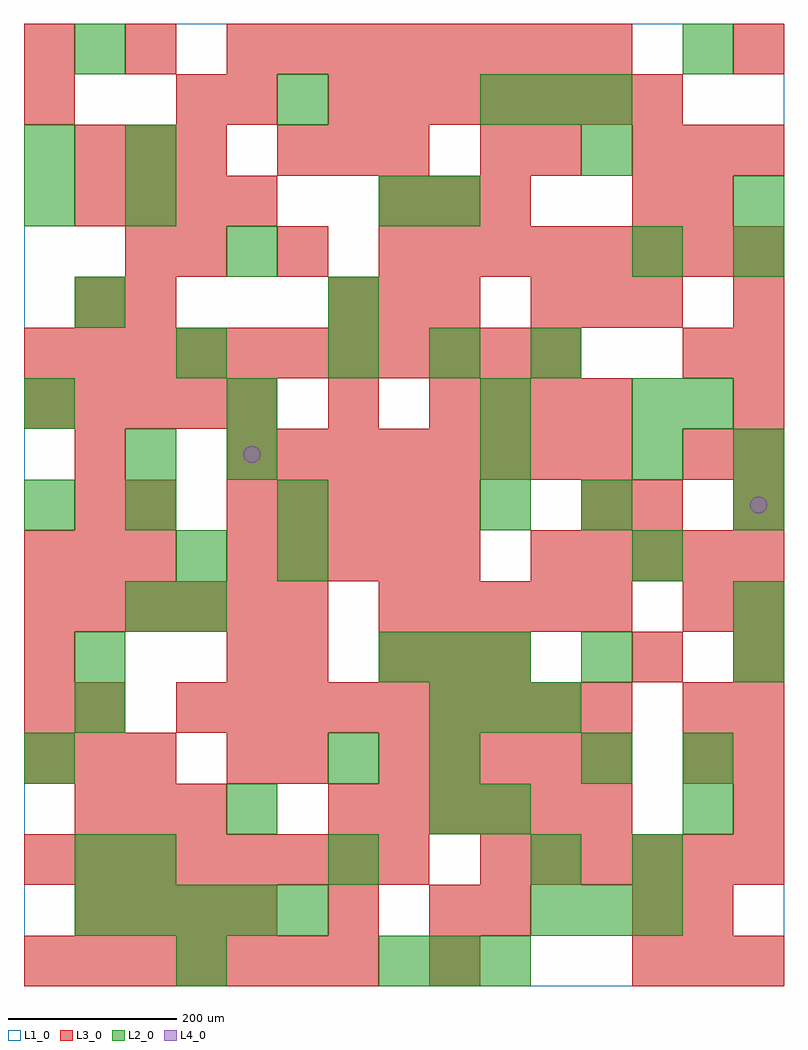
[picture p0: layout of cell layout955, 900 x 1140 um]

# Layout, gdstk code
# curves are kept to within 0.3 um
import gdstk
lib = gdstk.Library(unit=1e-6, precision=1e-09)
def R(c, l, rs):  # rectangles x0, y0, x1, y1
    for r in rs: c.add(gdstk.rectangle(r[:2], r[2:], *l))
def A(c, l, x, y, w, h, nx, ny, dx, dy):  # array of equal rectangles
    R(c, l, [(x+i*dx, y+j*dy, x+i*dx+w, y+j*dy+h) for i in range(nx) for j in range(ny)])
def P(c, l, *ps):  # polygons
    for p in ps: c.add(gdstk.Polygon(p, *l))
L1_0 = (1, 0)
L2_0 = (2, 0)
L3_0 = (3, 0)
L4_0 = (4, 0)

layout955 = lib.new_cell('layout955')
R(layout955, L1_0, [(0,0,900,1140)])
A(layout955, L2_0, 420, 0, 60, 60, 3, 2, 60, 360)
A(layout955, L2_0, 60, 60, 60, 60, 5, 1, 60, 0)
A(layout955, L2_0, 600, 60, 60, 60, 3, 1, 60, 0)
A(layout955, L2_0, 120, 120, 60, 60, 3, 1, 240, 0)
A(layout955, L2_0, 780, 240, 60, 60, 1, 3, 0, 420)
A(layout955, L2_0, 480, 300, 60, 60, 3, 1, 60, 0)
A(layout955, L2_0, 540, 540, 60, 60, 1, 3, 0, 60)
A(layout955, L2_0, 360, 720, 60, 60, 3, 1, 120, 0)
A(layout955, L2_0, 540, 1020, 60, 60, 3, 1, 60, 0)
R(layout955, L2_0, [(180,0,240,60), (60,120,120,180), (720,120,780,180), (240,180,300,240), (480,180,540,240), (540,180,600,240), (780,180,840,240), (0,240,60,300), (360,240,420,300), (480,240,540,300), (660,240,720,300), (60,300,120,360), (60,360,120,420), (660,360,720,420), (840,360,900,420), (120,420,180,480), (180,420,240,480), (840,420,900,480), (180,480,240,540), (300,480,360,540), (720,480,780,540), (0,540,60,600), (120,540,180,600), (300,540,360,600), (660,540,720,600), (840,540,900,600), (120,600,180,660), (240,600,300,660), (720,600,780,660), (840,600,900,660), (0,660,60,720), (240,660,300,720), (720,660,780,720), (180,720,240,780), (60,780,120,840), (360,780,420,840), (240,840,300,900), (720,840,780,900), (840,840,900,900), (0,900,60,960), (120,900,180,960), (420,900,480,960), (480,900,540,960), (840,900,900,960), (0,960,60,1020), (120,960,180,1020), (660,960,720,1020), (300,1020,360,1080), (60,1080,120,1140)])
A(layout955, L3_0, 0, 0, 60, 60, 7, 1, 60, 0)
A(layout955, L3_0, 720, 0, 60, 60, 3, 2, 60, 960)
A(layout955, L3_0, 60, 60, 60, 60, 4, 2, 60, 840)
A(layout955, L3_0, 0, 120, 60, 60, 8, 1, 60, 0)
A(layout955, L3_0, 540, 120, 60, 60, 6, 1, 60, 0)
A(layout955, L3_0, 60, 180, 60, 60, 3, 2, 60, 780)
A(layout955, L3_0, 360, 180, 60, 60, 6, 1, 60, 0)
A(layout955, L3_0, 840, 180, 60, 60, 1, 5, 0, 60)
A(layout955, L3_0, 0, 240, 60, 60, 3, 2, 60, 240)
A(layout955, L3_0, 420, 240, 60, 60, 5, 2, 60, 180)
A(layout955, L3_0, 180, 300, 60, 60, 9, 1, 60, 0)
A(layout955, L3_0, 420, 360, 60, 60, 3, 2, 60, 540)
A(layout955, L3_0, 0, 420, 60, 60, 6, 1, 60, 0)
A(layout955, L3_0, 240, 480, 60, 60, 5, 2, 60, 60)
A(layout955, L3_0, 600, 480, 60, 60, 5, 1, 60, 0)
A(layout955, L3_0, 840, 540, 60, 60, 1, 5, 0, 60)
A(layout955, L3_0, 240, 600, 60, 60, 8, 1, 60, 0)
A(layout955, L3_0, 0, 660, 60, 60, 5, 1, 60, 0)
A(layout955, L3_0, 480, 660, 60, 60, 4, 1, 60, 0)
A(layout955, L3_0, 0, 720, 60, 60, 11, 1, 60, 0)
A(layout955, L3_0, 360, 780, 60, 60, 3, 1, 60, 0)
A(layout955, L3_0, 600, 780, 60, 60, 3, 1, 60, 0)
A(layout955, L3_0, 180, 840, 60, 60, 3, 1, 120, 0)
A(layout955, L3_0, 480, 840, 60, 60, 7, 1, 60, 0)
A(layout955, L3_0, 300, 960, 60, 60, 3, 1, 60, 0)
A(layout955, L3_0, 360, 1020, 60, 60, 7, 1, 60, 0)
A(layout955, L3_0, 0, 1080, 60, 60, 3, 1, 120, 0)
A(layout955, L3_0, 300, 1080, 60, 60, 7, 1, 60, 0)
R(layout955, L3_0, [(480,0,540,60), (360,60,420,120), (480,60,540,120), (540,60,600,120), (720,60,780,120), (780,60,840,120), (240,240,300,300), (300,240,360,300), (780,240,840,300), (0,300,60,360), (60,300,120,360), (780,300,840,360), (0,360,60,420), (240,360,300,420), (300,360,360,420), (720,360,780,420), (780,420,840,480), (60,540,120,600), (120,540,180,600), (660,540,720,600), (720,540,780,600), (60,600,120,660), (780,600,840,660), (360,660,420,720), (780,720,840,780), (60,780,120,840), (120,780,180,840), (120,840,180,900), (720,900,780,960), (780,900,840,960), (540,960,600,1020), (600,960,660,1020), (0,1020,60,1080), (180,1020,240,1080), (240,1020,300,1080), (840,1080,900,1140)])
P(layout955, L4_0, [(280,630),(279.239,633.827),(277.071,637.071),(273.827,639.239),(270,640),(266.173,639.239),(262.929,637.071),(260.761,633.827),(260,630),(260.761,626.173),(262.929,622.929),(266.173,620.761),(270,620),(273.827,620.761),(277.071,622.929),(279.239,626.173)],
  [(880,570),(879.239,573.827),(877.071,577.071),(873.827,579.239),(870,580),(866.173,579.239),(862.929,577.071),(860.761,573.827),(860,570),(860.761,566.173),(862.929,562.929),(866.173,560.761),(870,560),(873.827,560.761),(877.071,562.929),(879.239,566.173)])

lib.write_gds('layout955.gds')
